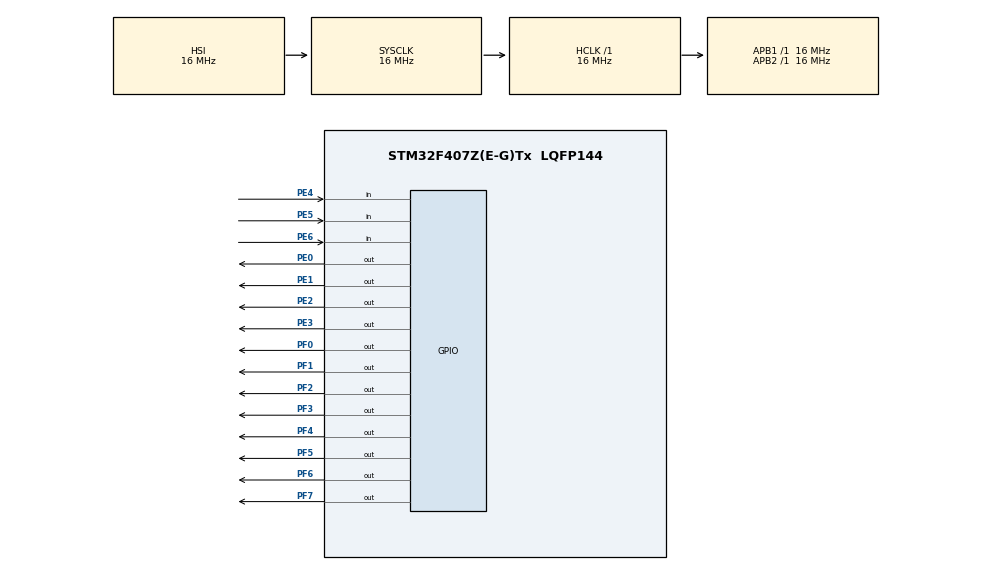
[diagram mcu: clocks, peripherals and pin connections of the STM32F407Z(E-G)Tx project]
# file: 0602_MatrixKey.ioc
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Mcu.Family=STM32F4
Mcu.Name=STM32F407Z(E-G)Tx
Mcu.Package=LQFP144
NVIC.PriorityGroup=NVIC_PRIORITYGROUP_4
PE0.Signal=GPIO_Output
PE1.Signal=GPIO_Output
PE2.Signal=GPIO_Output
PE3.Signal=GPIO_Output
PE4.GPIO_PuPd=GPIO_PULLUP
PE4.Signal=GPIO_Input
PE5.GPIO_PuPd=GPIO_PULLUP
PE5.Signal=GPIO_Input
PE6.GPIO_PuPd=GPIO_PULLUP
PE6.Signal=GPIO_Input
PF0.Signal=GPIO_Output
PF1.Signal=GPIO_Output
PF2.Signal=GPIO_Output
PF3.Signal=GPIO_Output
PF4.Signal=GPIO_Output
PF5.Signal=GPIO_Output
PF6.Signal=GPIO_Output
PF7.Signal=GPIO_Output
PH0-OSC_IN.Mode=HSE-External-Oscillator
PH0-OSC_IN.Signal=RCC_OSC_IN
PH1-OSC_OUT.Mode=HSE-External-Oscillator
PH1-OSC_OUT.Signal=RCC_OSC_OUT
ProjectManager.HeapSize=0x200
ProjectManager.StackSize=0x400
ProjectManager.TargetToolchain=MDK-ARM V5
RCC.AHBFreq_Value=16000000
RCC.APB1Freq_Value=16000000
RCC.APB2Freq_Value=16000000
RCC.CortexFreq_Value=16000000
RCC.HSE_VALUE=25000000
RCC.HSI_VALUE=16000000
RCC.LSE_VALUE=32768
RCC.SYSCLKFreq_VALUE=16000000
RCC.VCOOutputFreq_Value=192000000
board=custom

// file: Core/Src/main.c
/* USER CODE BEGIN Header */
/**
  ******************************************************************************
  * @file           : main.c
  * @brief          : Main program body
  ******************************************************************************
  * @attention
  *
  * Copyright (c) 2026 STMicroelectronics.
  * All rights reserved.
  *
  * This software is licensed under terms that can be found in the LICENSE file
  * in the root directory of this software component.
  * If no LICENSE file comes with this software, it is provided AS-IS.
  *
  ******************************************************************************
  */
/* USER CODE END Header */
#include "main.h"
#include "gpio.h"

void SystemClock_Config(void);

/* USER CODE BEGIN 0 */
uint8_t MatrixKey_Scan(void);

uint8_t MatrixKey_Scan(void)
{
  uint8_t row;
  for(row = 0; row < 4; row++)
  {
    HAL_GPIO_WritePin(GPIOE, GPIO_PIN_0|GPIO_PIN_1|GPIO_PIN_2|GPIO_PIN_3, GPIO_PIN_SET);
    switch(row)
    {
      case 0: HAL_GPIO_WritePin(GPIOE, GPIO_PIN_0, GPIO_PIN_RESET); break;
      case 1: HAL_GPIO_WritePin(GPIOE, GPIO_PIN_1, GPIO_PIN_RESET); break;
      case 2: HAL_GPIO_WritePin(GPIOE, GPIO_PIN_2, GPIO_PIN_RESET); break;
      case 3: HAL_GPIO_WritePin(GPIOE, GPIO_PIN_3, GPIO_PIN_RESET); break;
    }
    HAL_Delay(1);

    if(HAL_GPIO_ReadPin(GPIOE, GPIO_PIN_4) == GPIO_PIN_RESET)
    {
      HAL_Delay(20);
      return row * 3 + 0;
    }
    if(HAL_GPIO_ReadPin(GPIOE, GPIO_PIN_5) == GPIO_PIN_RESET)
    {
      HAL_Delay(20);
      return row * 3 + 1;
    }
    if(HAL_GPIO_ReadPin(GPIOE, GPIO_PIN_6) == GPIO_PIN_RESET)
    {
      HAL_Delay(20);
      return row * 3 + 2;
    }
  }
  return 0xFF;
}
/* USER CODE END 0 */

int main(void)
{

  /* MCU Configuration--------------------------------------------------------*/

  /* Reset of all peripherals, Initializes the Flash interface and the Systick. */
  HAL_Init();

  /* Configure the system clock */
  SystemClock_Config();

  /* Initialize all configured peripherals */
  MX_GPIO_Init();
  /* USER CODE BEGIN 2 */
uint8_t key_val;
HAL_GPIO_WritePin(GPIOF, GPIO_PIN_0|GPIO_PIN_1|GPIO_PIN_2|GPIO_PIN_3|
                  GPIO_PIN_4|GPIO_PIN_5|GPIO_PIN_6|GPIO_PIN_7, GPIO_PIN_SET);
  /* USER CODE END 2 */

  /* Infinite loop */
  while (1)
  {

    /* USER CODE BEGIN 3 */
		key_val = MatrixKey_Scan();
if(key_val != 0xFF)
{
  HAL_GPIO_WritePin(GPIOF, GPIO_PIN_0|GPIO_PIN_1|GPIO_PIN_2|GPIO_PIN_3|
                    GPIO_PIN_4|GPIO_PIN_5|GPIO_PIN_6|GPIO_PIN_7, GPIO_PIN_SET);

  switch(key_val)
  {
    case 0: HAL_GPIO_WritePin(GPIOF, GPIO_PIN_0, GPIO_PIN_RESET); break;
    case 1: HAL_GPIO_WritePin(GPIOF, GPIO_PIN_1, GPIO_PIN_RESET); break;
    case 2: HAL_GPIO_WritePin(GPIOF, GPIO_PIN_2, GPIO_PIN_RESET); break;
    case 3: HAL_GPIO_WritePin(GPIOF, GPIO_PIN_3, GPIO_PIN_RESET); break;
    case 4: HAL_GPIO_WritePin(GPIOF, GPIO_PIN_4, GPIO_PIN_RESET); break;
    case 5: HAL_GPIO_WritePin(GPIOF, GPIO_PIN_5, GPIO_PIN_RESET); break;
    case 6: HAL_GPIO_WritePin(GPIOF, GPIO_PIN_6, GPIO_PIN_RESET); break;
    case 7: HAL_GPIO_WritePin(GPIOF, GPIO_PIN_7, GPIO_PIN_RESET); break;
    default: break;
  }
  while(MatrixKey_Scan() != 0xFF);
  HAL_Delay(20);
}
  }
  /* USER CODE END 3 */
}

void SystemClock_Config(void)
{
  RCC_OscInitTypeDef RCC_OscInitStruct = {0};
  RCC_ClkInitTypeDef RCC_ClkInitStruct = {0};

  /** Configure the main internal regulator output voltage
  */
  __HAL_RCC_PWR_CLK_ENABLE();
  __HAL_PWR_VOLTAGESCALING_CONFIG(PWR_REGULATOR_VOLTAGE_SCALE1);

  /** Initializes the RCC Oscillators according to the specified parameters
  * in the RCC_OscInitTypeDef structure.
  */
  RCC_OscInitStruct.OscillatorType = RCC_OSCILLATORTYPE_HSI;
  RCC_OscInitStruct.HSIState = RCC_HSI_ON;
  RCC_OscInitStruct.HSICalibrationValue = RCC_HSICALIBRATION_DEFAULT;
  RCC_OscInitStruct.PLL.PLLState = RCC_PLL_NONE;
  if (HAL_RCC_OscConfig(&RCC_OscInitStruct) != HAL_OK)
  {
    Error_Handler();
  }

  /** Initializes the CPU, AHB and APB buses clocks
  */
  RCC_ClkInitStruct.ClockType = RCC_CLOCKTYPE_HCLK|RCC_CLOCKTYPE_SYSCLK
                              |RCC_CLOCKTYPE_PCLK1|RCC_CLOCKTYPE_PCLK2;
  RCC_ClkInitStruct.SYSCLKSource = RCC_SYSCLKSOURCE_HSI;
  RCC_ClkInitStruct.AHBCLKDivider = RCC_SYSCLK_DIV1;
  RCC_ClkInitStruct.APB1CLKDivider = RCC_HCLK_DIV1;
  RCC_ClkInitStruct.APB2CLKDivider = RCC_HCLK_DIV1;

  if (HAL_RCC_ClockConfig(&RCC_ClkInitStruct, FLASH_LATENCY_0) != HAL_OK)
  {
    Error_Handler();
  }
}

void Error_Handler(void)
{
  __disable_irq();
  while (1)
  {
  }
}
